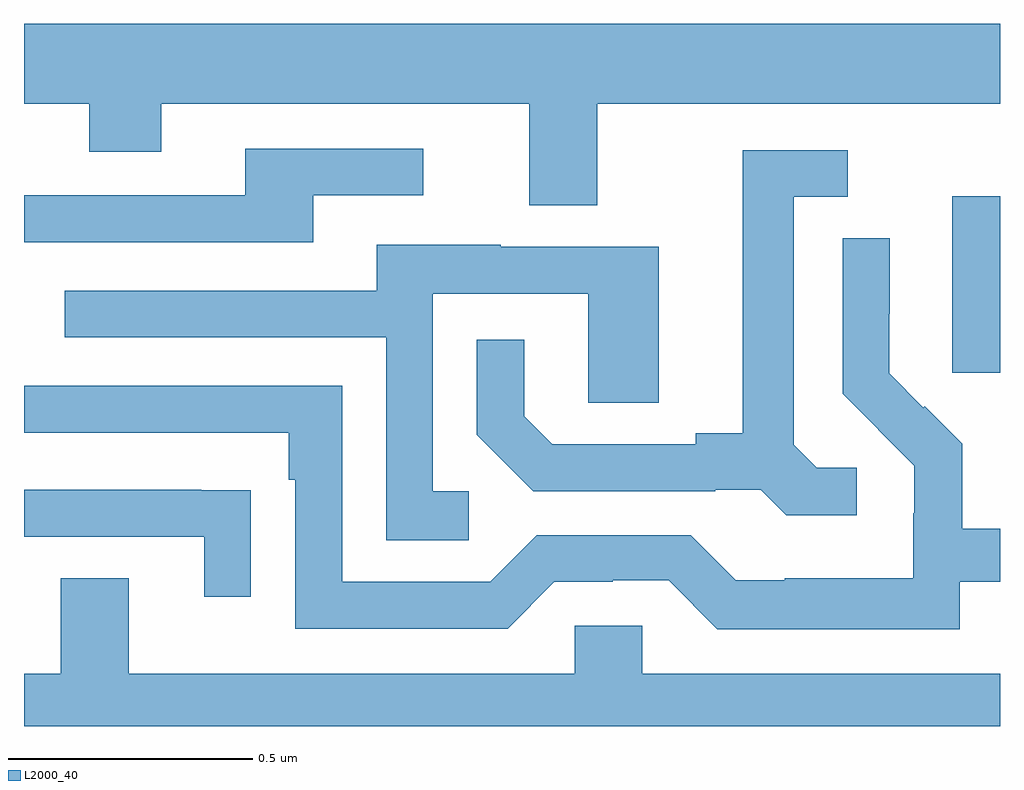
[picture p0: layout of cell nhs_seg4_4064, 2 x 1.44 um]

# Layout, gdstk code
import gdstk
lib = gdstk.Library(unit=1e-6, precision=1e-09)
def R(c, l, rs):  # rectangles x0, y0, x1, y1
    for r in rs: c.add(gdstk.rectangle(r[:2], r[2:], *l))
def P(c, l, *ps):  # polygons
    for p in ps: c.add(gdstk.Polygon(p, *l))
L2000_40 = (2000, 40)

nhs_seg4_4064 = lib.new_cell('nhs_seg4_4064')
R(nhs_seg4_4064, L2000_40, [(162.902,773.625,163,773.986)])
P(nhs_seg4_4064, L2000_40, [(162.175,774.176),(163,774.176),(163,774.34),(161,774.34),(161,774.176),(161.134,774.176),(161.134,774.077),(161.281,774.077),(161.281,774.176),(162.035,774.176),(162.035,773.968),(162.175,773.968)],
  [(161.593,773.988),(161.818,773.988),(161.818,774.084),(161.453,774.084),(161.453,773.988),(161,773.988),(161,773.892),(161.593,773.892)],
  [(162.706,773.43),(162.624,773.43),(162.577,773.477),(162.577,773.985),(162.688,773.985),(162.688,774.081),(162.473,774.081),(162.473,773.501),(162.377,773.501),(162.377,773.478),(162.082,773.478),(162.025,773.535),(162.025,773.692),(161.928,773.692),(161.928,773.498),(162.044,773.382),(162.416,773.382),(162.416,773.385),(162.51,773.385),(162.562,773.333),(162.706,773.333)],
  [(162.918,773.196),(163,773.196),(163,773.305),(162.923,773.305),(162.923,773.479),(162.846,773.556),(162.843,773.553),(162.773,773.624),(162.773,773.746),(162.774,773.746),(162.774,773.9),(162.678,773.9),(162.678,773.582),(162.751,773.509),(162.75,773.508),(162.824,773.434),(162.824,773.337),(162.822,773.337),(162.822,773.203),(162.559,773.203),(162.559,773.199),(162.459,773.199),(162.366,773.292),(162.051,773.292),(161.955,773.196),(161.652,773.196),(161.652,773.598),(161,773.598),(161,773.502),(161.543,773.502),(161.543,773.405),(161.556,773.405),(161.556,773.1),(161.991,773.1),(162.087,773.196),(162.206,773.196),(162.206,773.199),(162.321,773.199),(162.421,773.099),(162.918,773.099)],
  [(161.911,773.382),(161.838,773.382),(161.838,773.787),(162.156,773.787),(162.156,773.563),(162.301,773.563),(162.301,773.883),(161.977,773.883),(161.977,773.887),(161.723,773.887),(161.723,773.793),(161.083,773.793),(161.083,773.697),(161.742,773.697),(161.742,773.281),(161.911,773.281)],
  [(161.465,773.384),(161.363,773.384),(161.363,773.385),(161,773.385),(161,773.289),(161.369,773.289),(161.369,773.166),(161.465,773.166)],
  [(163,773.008),(162.267,773.008),(162.267,773.106),(162.129,773.106),(162.129,773.008),(161.215,773.008),(161.215,773.203),(161.075,773.203),(161.075,773.008),(161,773.008),(161,772.9),(163,772.9)])

lib.write_gds('nhs_seg4_4064.gds')
